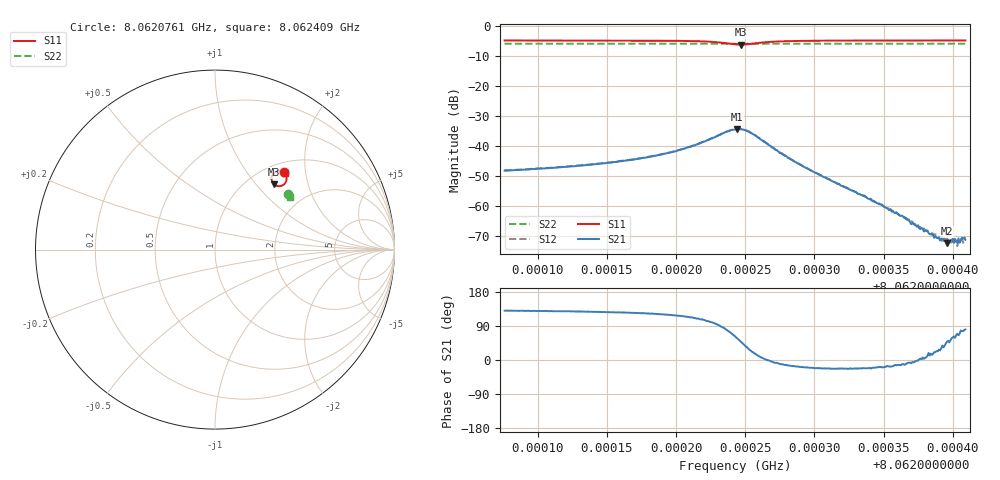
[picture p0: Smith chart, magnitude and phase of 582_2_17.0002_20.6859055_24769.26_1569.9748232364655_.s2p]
#  HZ  S  RI  R  50.00
! Rohde & Schwarz Vector Network Analyzer
! Rohde-Schwarz,ZNB20-2Port,1311601062101988,3.16
! Created: UTC 3/20/2024, 11:18:10 PM
! freq[Hz]  re:S11  im:S11  re:S21  im:S21  re:S12  im:S12  re:S22  im:S22
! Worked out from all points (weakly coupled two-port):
!   401 points, 8.0620761 GHz to 8.062409 GHz, reference 50 ohm
!   highest |S21| = -34.32 dB at 8.0622442 GHz (marker M1); lowest = -72.4 dB at 8.0623957 GHz (marker M2)
!   lowest |S11| = -6.2 dB at 8.0622467 GHz (marker M3), VSWR 2.93, Z = 65.2 + j62.5 ohm
!   |S11| at or under -10 dB: nowhere
!   |S22| runs from -5.9 to -5.9 dB; largest |S21 - S12| = 0.0013
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8.06207611e9  0.3823 0.4308  -0.00251 0.00299  -0.00236 0.00315  0.4056 0.3072
8.06213187e9  0.3878 0.4249  -0.00293 0.00376  -0.00271 0.00398  0.4076 0.3042
8.06216766e9  0.3924 0.4185  -0.00334 0.00487  -0.00308 0.00507  0.4089 0.3023
8.06218764e9  0.3957 0.4123  -0.00367 0.00608  -0.00334 0.00634  0.4097 0.3009
8.06221011e9  0.3987 0.3984  -0.0037 0.00887  -0.00327 0.00922  0.4102 0.2993
8.06222926e9  0.3909 0.3709  -0.00109 0.0146  -0.00029 0.0146  0.4102 0.2972
8.06224257e9  0.348 0.3544  0.00886 0.0167  0.00988 0.0163  0.4085 0.2965
8.06224424e9  0.3401 0.357  0.0105 0.0161  0.0116 0.0155  0.4082 0.2967
8.06224673e9  0.3295 0.3638  0.0127 0.0143  0.0136 0.0136  0.4078 0.297
8.06225506e9  0.3154 0.3995  0.015 0.00593  0.0154 0.00515  0.408 0.2984
8.0622767e9  0.3473 0.4361  0.00722 -0.00143  0.00728 -0.00201  0.4107 0.2984
8.06229834e9  0.3648 0.4365  0.00356 -0.00135  0.00352 -0.00158  0.4122 0.2972
8.06233579e9  0.3773 0.4325  0.00135 -0.000538  0.00136 -0.000635  0.414 0.295
8.0623541e9  0.3806 0.4305  0.000817 -0.000251  0.000808 -0.000318  0.4146 0.2942
8.06236659e9  0.3826 0.4293  0.000588 -9.82e-05  0.000605 -0.000165  0.4152 0.2933
8.0623824e9  0.3846 0.428  0.000338 0.000113  0.000355 3.24e-05  0.4157 0.2924
8.06238657e9  0.3851 0.4277  0.000277 0.000104  0.000327 6.42e-05  0.4158 0.2923
8.06239073e9  0.3856 0.4273  0.000242 0.000115  0.000232 0.000141  0.416 0.2921
8.06239572e9  0.3861 0.427  0.000161 0.000179  0.000224 0.000175  0.4164 0.2918
8.06239822e9  0.3863 0.4268  0.000169 0.000214  0.000169 0.000181  0.4162 0.2917
8.06240155e9  0.3868 0.4264  0.000149 0.000242  0.00015 0.000206  0.4166 0.2914
8.06240904e9  0.3875 0.426  4.47e-05 0.00027  6.95e-05 0.000298  0.4166 0.291
